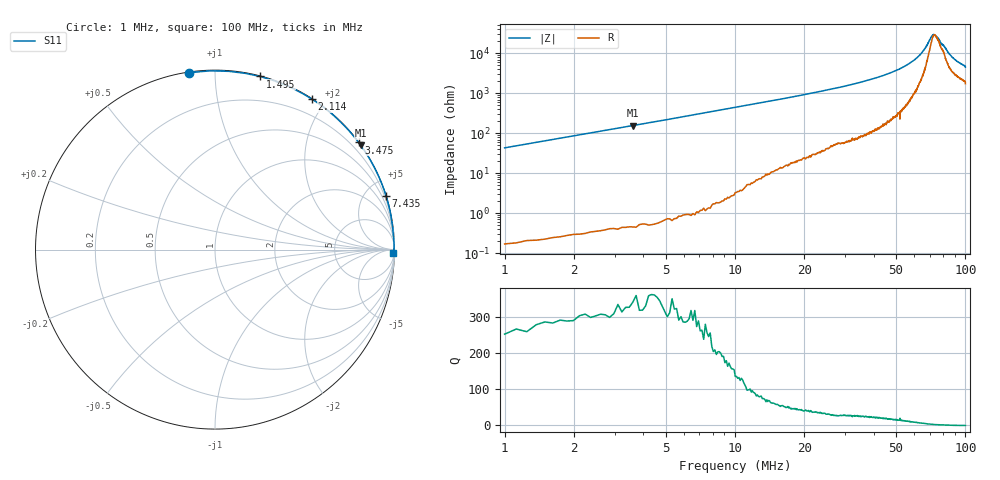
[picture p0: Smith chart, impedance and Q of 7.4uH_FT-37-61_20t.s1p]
! NanoVNA-App
! Date: 2025-05-31 18:07:13
! Start: 1MHz Stop: 100MHz Points: 801
! S-Parameter data: F S11
# Hz S RI R 50
!  Frequency  S11_Real  S11_Imag
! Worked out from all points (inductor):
!   801 points, 1 MHz to 100 MHz, reference 50 ohm
!   read as one part to ground: L = 6.88 uH near 1.495 MHz
!   highest Q = 332 at 3.599 MHz (marker M1), where L = 6.9 uH
!   self-resonance near 74.14 MHz
!   S11 on the Smith chart (normalised r, x): 1 MHz: 0.00, +0.87; 1.495 MHz: 0.00, +1.29; 2.114 MHz: 0.01, +1.83; 3.475 MHz: 0.01, +3.01; 7.435 MHz: 0.02, +6.51; 100 MHz: 35, -83
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1000000  -0.1428 0.9858
1247500  0.0762 0.9933
1495000  0.2512 0.9645
1618750  0.3237 0.9426
1742500  0.3879 0.9183
1866250  0.4444 0.8924
2113750  0.5385 0.8394
2361250  0.6122 0.7874
2732500  0.6952 0.7155
3103750  0.7555 0.6522
3475000  0.8 0.597
3598750  0.8122 0.5804
4341250  0.8672 0.4952
5207500  0.9058 0.4205
6197500  0.9326 0.3574
7435000  0.9529 0.2998
8672500  0.965 0.2574
1.003375e7  0.9733 0.2222
1.3375e7  0.9839 0.1652
1.585e7  0.9878 0.1379
1.869625e7  0.9906 0.1152
2.575e7  0.9941 0.0794
3.8125e7  0.9968 0.0461
5.05e7  0.9977 0.026
6.2875e7  0.9977 0.0113
7.525e7  0.9962 -0.000976
8.7625e7  0.9946 -0.0112
1e8  0.9912 -0.0203
